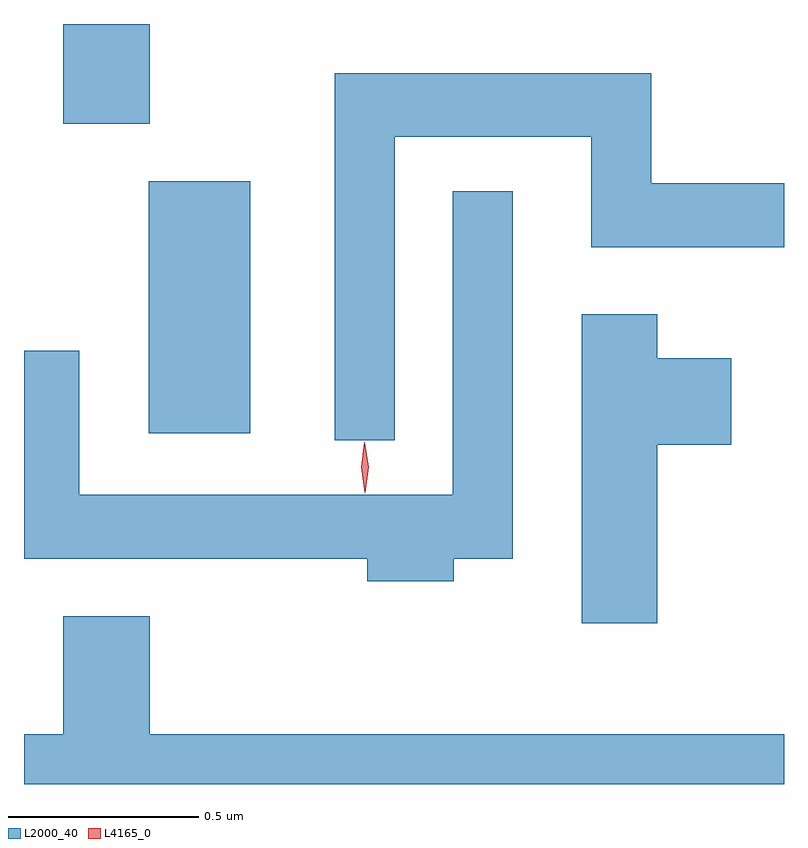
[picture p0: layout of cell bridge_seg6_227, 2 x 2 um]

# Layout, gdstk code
import gdstk
lib = gdstk.Library(unit=1e-6, precision=1e-09)
def R(c, l, rs):  # rectangles x0, y0, x1, y1
    for r in rs: c.add(gdstk.rectangle(r[:2], r[2:], *l))
def P(c, l, *ps):  # polygons
    for p in ps: c.add(gdstk.Polygon(p, *l))
L2000_40 = (2000, 40)
L4165_0 = (4165, 0)

bridge_seg6_227 = lib.new_cell('bridge_seg6_227')
R(bridge_seg6_227, L2000_40, [(1099.196,1535.556,1099.464,1536.219), (1098.971,1536.371,1099.199,1536.633)])
P(bridge_seg6_227, L2000_40, [(1099.844,1536.336),(1100.361,1536.336),(1100.361,1536.046),(1100.868,1536.046),(1100.868,1536.214),(1100.519,1536.214),(1100.519,1536.504),(1099.686,1536.504),(1099.686,1535.538),(1099.844,1535.538)],
  [(1099.999,1535.226),(1100.154,1535.226),(1100.154,1536.193),(1099.996,1536.193),(1099.996,1535.394),(1099.014,1535.394),(1099.014,1535.773),(1098.868,1535.773),(1098.868,1535.226),(1099.771,1535.226),(1099.771,1535.166),(1099.999,1535.166)],
  [(1100.534,1535.526),(1100.729,1535.526),(1100.729,1535.754),(1100.534,1535.754),(1100.534,1535.869),(1100.336,1535.869),(1100.336,1535.056),(1100.534,1535.056)],
  [(1100.868,1534.764),(1099.199,1534.764),(1099.199,1535.074),(1098.971,1535.074),(1098.971,1534.764),(1098.868,1534.764),(1098.868,1534.633),(1100.868,1534.633)])
P(bridge_seg6_227, L4165_0, [(1099.765,1535.399),(1099.765,1535.4),(1099.755,1535.466),(1099.764,1535.532),(1099.765,1535.533),(1099.765,1535.532),(1099.775,1535.466),(1099.766,1535.4)])

lib.write_gds('bridge_seg6_227.gds')
